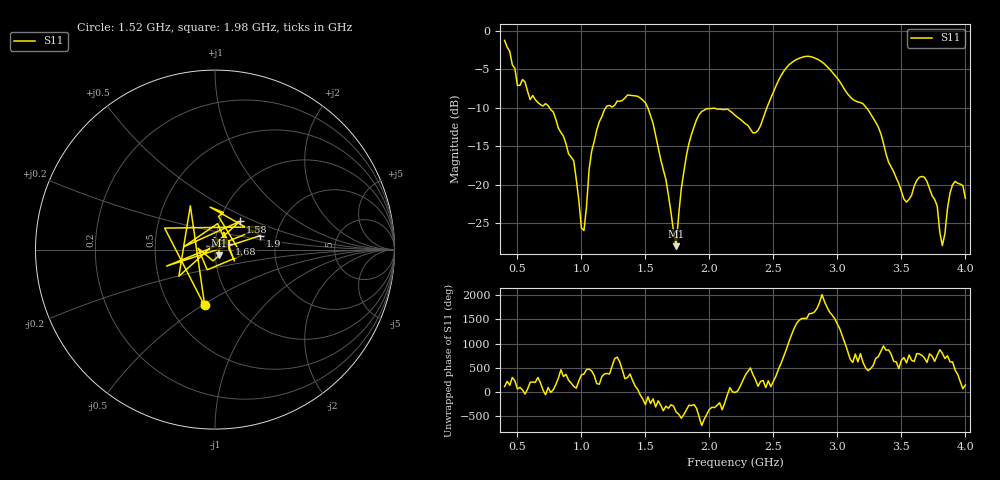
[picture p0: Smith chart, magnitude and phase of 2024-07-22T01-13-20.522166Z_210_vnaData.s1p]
!Created with skrf (http://scikit-rf.org).
# Hz S RI R 50.0
!freq ReS11 ImS11
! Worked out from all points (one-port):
!   181 points, 400 MHz to 4 GHz, reference 50 ohm
!   lowest |S11| = -28.0 dB at 1.74 GHz (marker M1), VSWR 1.08, Z = 52.2 - j3.43 ohm
!   |S11| at or under -10 dB: 750.7 MHz to 1.19 GHz (439.7 MHz wide, 45.3 % of centre); 1.519 GHz to 2.449 GHz (930.7 MHz wide, 46.9 % of centre); 3.227 GHz to end of sweep
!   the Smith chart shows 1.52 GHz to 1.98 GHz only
!   S11 on the Smith chart (normalised r, x): 1.52 GHz: 0.74, -0.51; 1.58 GHz: 1.25, +0.41; 1.68 GHz: 1.17, +0.07; 1.9 GHz: 1.65, +0.28; 1.98 GHz: 0.74, -0.50
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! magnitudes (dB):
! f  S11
! 400 MHz  -1.3
! 500 MHz  -7.1
! 860 MHz  -13.7
! 940 MHz  -16.9
! 1.02 GHz  -25.9
! 1.06 GHz  -18.0
! 1.12 GHz  -12.9
! 1.3 GHz  -9.2
! 1.52 GHz  -10.0
! 1.58 GHz  -13.6
! 1.68 GHz  -21.4
! 1.74 GHz  -28.0
! 1.76 GHz  -23.9
! 1.82 GHz  -16.3
! 1.9 GHz  -11.5
! 1.98 GHz  -10.1
! 2.2 GHz  -11.0
! 2.38 GHz  -12.9
! 2.66 GHz  -3.9
! 2.86 GHz  -3.9
! 3.1 GHz  -8.6
! 3.3 GHz  -11.9
! 3.56 GHz  -21.9
! 3.68 GHz  -19.0
! 3.78 GHz  -22.8
! 3.82 GHz  -27.9
! 3.9 GHz  -20.0
! 4 GHz  -21.8
